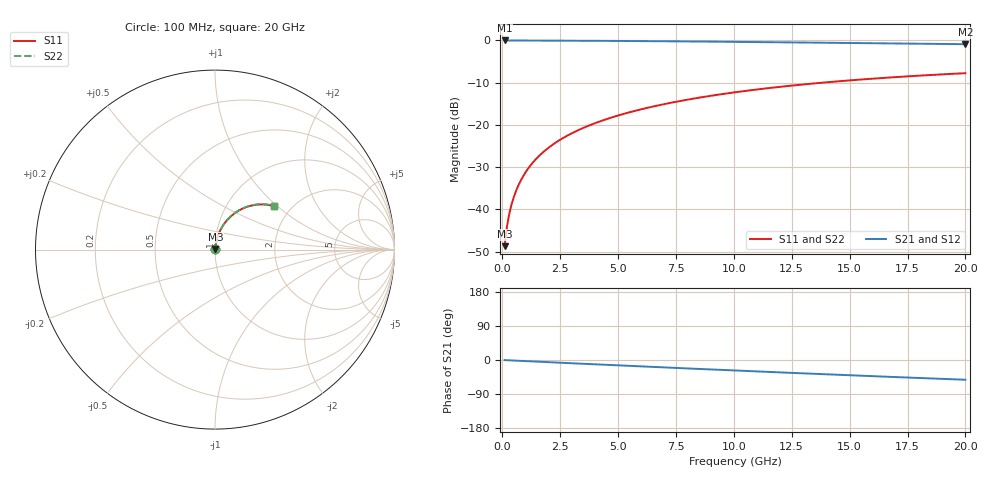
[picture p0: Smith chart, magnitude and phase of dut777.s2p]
! Touchstone file exported from HFSS 2026.1.0
!  File:  C:/ffzhzh/LocalFiles/Ansys_Project_Files/temp_train_BSMRDL_777_1783169303_55132.aedt
!  Generated:  08:49:48 PM Jul  4, 2026
!  Design:  BSMRDL
!  Project:  temp_train_BSMRDL_777_1783169303_55132
! Variables:
!  h_bsmrdl = 5.94um
!  h_ox = 20um
!  h_rdl = 5um
!  h_sub = 80um
!  h_tmrdl = 5um
!  h_tsv = 80um
!  h_via = 3um
!  l_bsmrdl = 823.63um
!  l_sub = 1223.63um
!  l_tmrdl = 200um
!  m_sub = 200um
!  pitch = 51.79um
!  r_tsv = 6um
!  s_tmrdl = 10um
!  w_bsmrdl = 24.41um
!  w_sub = 500um
!  w_tmrdl = 12um
!  x_tsv_center1 = 206um
!  x_tsv_center2 = 1054.04um
!  x_tsv_center3 = 1266.04um
!  x_tsv_center4 = 2114.08um
!  x_tsv_center5 = 2326.08um
!  x_tsv_center6 = 3174.12um
# GHz S MA R 50.000000
! Terminal data exported
! Port[1] = BSM_RDL1_1_T1
! Port[2] = BSM_RDL1_1_T2
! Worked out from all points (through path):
!   200 points, 100 MHz to 20 GHz, reference 50 ohm
!   highest |S21| = -0.02 dB at 100 MHz (marker M1); lowest = -0.9 dB at 20 GHz (marker M2)
!   group delay of S21, straight-line fit = 7.24 ps
!   lowest |S11| = -48.7 dB at 100 MHz (marker M3), VSWR 1.01, Z = 50.2 + j0.295 ohm
!   |S11| at or under -10 dB: start of sweep to 13.83 GHz
!   |S22| runs from -48.7 to -7.8 dB; largest |S21 - S12| = 1.3e-14
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0.1  0.003684 52.9  0.9978 -0.3  0.9978 -0.3  0.003684 52.9
! Gamma 0 0 0 0
! Port Impedance 50 0 50 0
0.2  0.00624 66.9  0.9976 -0.6  0.9976 -0.6  0.006239 66.9
0.3  0.008856 72.5  0.9974 -0.9  0.9974 -0.9  0.008856 72.5
0.4  0.01148 75.5  0.9973 -1.2  0.9973 -1.2  0.01148 75.5
0.5  0.01411 77.3  0.9972 -1.5  0.9972 -1.5  0.01411 77.4
0.7  0.01941 79.4  0.997 -2.0  0.997 -2.0  0.01941 79.4
0.8  0.02207 80.0  0.9969 -2.3  0.9969 -2.3  0.02207 80.0
1  0.0274 80.6  0.9966 -2.9  0.9966 -2.9  0.0274 80.7
1.2  0.03272 80.9  0.9963 -3.5  0.9963 -3.5  0.03272 80.9
1.4  0.03803 80.8  0.9959 -4.1  0.9959 -4.1  0.03803 80.9
1.7  0.04596 80.5  0.9953 -4.9  0.9953 -4.9  0.04596 80.6
2  0.05384 80.0  0.9947 -5.8  0.9947 -5.8  0.05384 80.1
2.7  0.07198 78.5  0.9928 -7.7  0.9928 -7.7  0.07198 78.6
3.5  0.09229 76.6  0.9903 -10.0  0.9903 -10.0  0.09229 76.7
4.2  0.1097 74.9  0.9879 -11.9  0.9879 -11.9  0.1097 74.9
5  0.1293 72.8  0.9849 -14.1  0.9849 -14.1  0.1293 72.9
6.8  0.1718 68.3  0.9773 -19.0  0.9773 -19.0  0.1718 68.4
8.3  0.2057 64.5  0.97 -23.1  0.97 -23.1  0.2057 64.6
10.1  0.2443 59.9  0.9604 -27.8  0.9604 -27.8  0.2443 60.1
13.4  0.3085 51.7  0.941 -36.3  0.941 -36.3  0.3084 52.0
16.7  0.3635 43.8  0.9207 -44.4  0.9207 -44.4  0.3635 44.1
20  0.4093 36.2  0.9012 -52.1  0.9012 -52.1  0.4092 36.6
